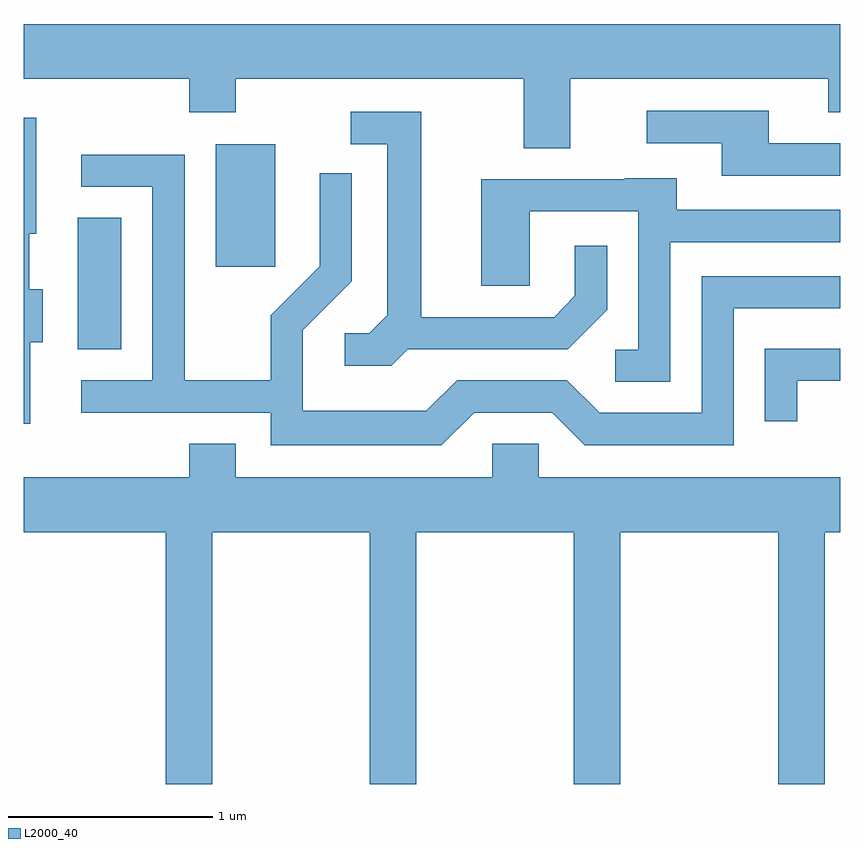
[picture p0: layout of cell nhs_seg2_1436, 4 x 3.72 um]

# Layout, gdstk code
import gdstk
lib = gdstk.Library(unit=1e-6, precision=1e-09)
def R(c, l, rs):  # rectangles x0, y0, x1, y1
    for r in rs: c.add(gdstk.rectangle(r[:2], r[2:], *l))
def P(c, l, *ps):  # polygons
    for p in ps: c.add(gdstk.Polygon(p, *l))
L2000_40 = (2000, 40)

nhs_seg2_1436 = lib.new_cell('nhs_seg2_1436')
R(nhs_seg2_1436, L2000_40, [(227.876,995.931,228.089,996.574), (228.551,996.336,228.844,996.934)])
P(nhs_seg2_1436, L2000_40, [(230.289,997.256),(231.551,997.256),(231.551,997.091),(231.611,997.091),(231.611,997.524),(227.611,997.524),(227.611,997.256),(228.421,997.256),(228.421,997.091),(228.649,997.091),(228.649,997.256),(230.061,997.256),(230.061,996.916),(230.289,996.916)],
  [(231.611,996.939),(231.259,996.939),(231.259,997.099),(230.663,997.099),(230.663,996.941),(231.031,996.941),(231.031,996.781),(231.611,996.781)],
  [(229.492,995.931),(230.277,995.931),(230.469,996.124),(230.469,996.438),(230.311,996.438),(230.311,996.192),(230.209,996.089),(229.559,996.089),(229.559,997.094),(229.213,997.094),(229.213,996.936),(229.391,996.936),(229.391,996.097),(229.304,996.009),(229.183,996.009),(229.183,995.851),(229.412,995.851)],
  [(227.644,995.966),(227.704,995.966),(227.704,996.224),(227.639,996.224),(227.639,996.496),(227.674,996.496),(227.674,997.064),(227.611,997.064),(227.611,995.566),(227.644,995.566)],
  [(229.817,995.621),(230.199,995.621),(230.359,995.461),(231.089,995.461),(231.089,996.131),(231.611,996.131),(231.611,996.289),(230.931,996.289),(230.931,995.619),(230.432,995.619),(230.272,995.779),(229.734,995.779),(229.584,995.629),(228.979,995.629),(228.979,996.024),(229.219,996.264),(229.219,996.793),(229.061,996.793),(229.061,996.337),(228.821,996.097),(228.821,995.779),(228.399,995.779),(228.399,996.884),(227.893,996.884),(227.893,996.726),(228.241,996.726),(228.241,995.779),(227.893,995.779),(227.893,995.621),(228.821,995.621),(228.821,995.461),(229.657,995.461)],
  [(230.779,996.456),(231.611,996.456),(231.611,996.614),(230.809,996.614),(230.809,996.769),(230.555,996.769),(230.555,996.764),(229.851,996.764),(229.851,996.241),(230.089,996.241),(230.089,996.606),(230.621,996.606),(230.621,995.929),(230.508,995.929),(230.508,995.771),(230.779,995.771)],
  [(231.399,995.776),(231.611,995.776),(231.611,995.934),(231.241,995.934),(231.241,995.578),(231.399,995.578)],
  [(228.534,995.036),(229.306,995.036),(229.306,993.802),(229.534,993.802),(229.534,995.036),(230.306,995.036),(230.306,993.802),(230.534,993.802),(230.534,995.036),(231.306,995.036),(231.306,993.802),(231.534,993.802),(231.534,995.036),(231.611,995.036),(231.611,995.304),(230.134,995.304),(230.134,995.469),(229.906,995.469),(229.906,995.304),(228.649,995.304),(228.649,995.469),(228.421,995.469),(228.421,995.304),(227.611,995.304),(227.611,995.036),(228.306,995.036),(228.306,993.802),(228.534,993.802)])

lib.write_gds('nhs_seg2_1436.gds')
